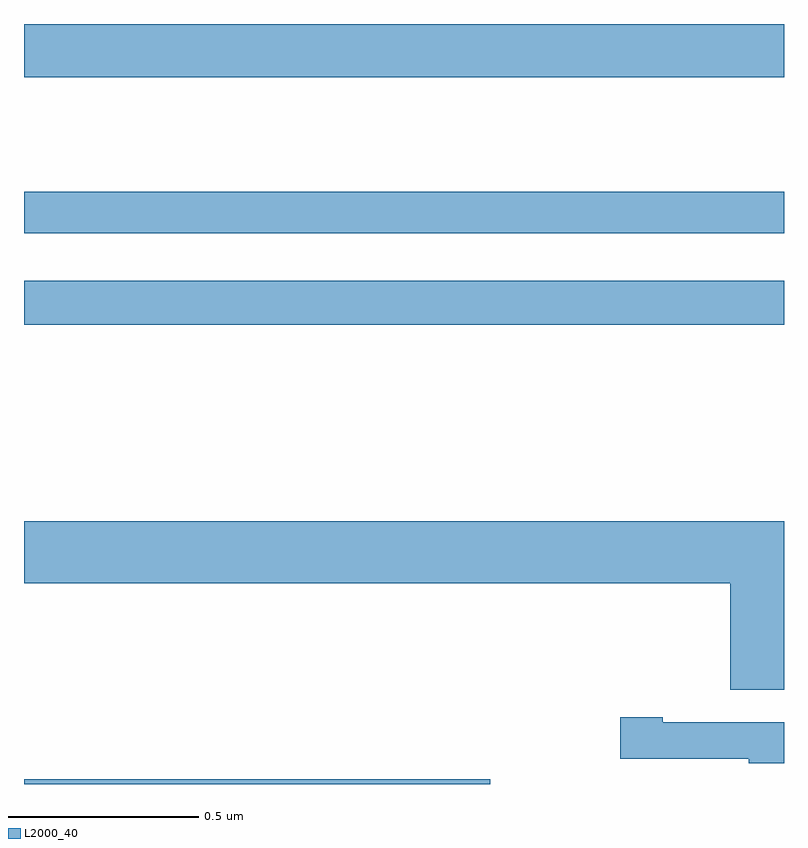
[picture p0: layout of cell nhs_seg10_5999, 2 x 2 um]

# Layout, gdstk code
import gdstk
lib = gdstk.Library(unit=1e-6, precision=1e-09)
def R(c, l, rs):  # rectangles x0, y0, x1, y1
    for r in rs: c.add(gdstk.rectangle(r[:2], r[2:], *l))
def P(c, l, *ps):  # polygons
    for p in ps: c.add(gdstk.Polygon(p, *l))
L2000_40 = (2000, 40)

nhs_seg10_5999 = lib.new_cell('nhs_seg10_5999')
R(nhs_seg10_5999, L2000_40, [(186,1254.5,187.227,1254.512), (186,1255.708,188,1255.824), (186,1255.95,188,1256.059), (186,1256.36,188,1256.5)])
P(nhs_seg10_5999, L2000_40, [(188,1255.192),(186,1255.192),(186,1255.028),(187.859,1255.028),(187.859,1254.748),(188,1254.748)],
  [(188,1254.663),(187.681,1254.663),(187.681,1254.676),(187.569,1254.676),(187.569,1254.567),(187.907,1254.567),(187.907,1254.555),(188,1254.555)])

lib.write_gds('nhs_seg10_5999.gds')
